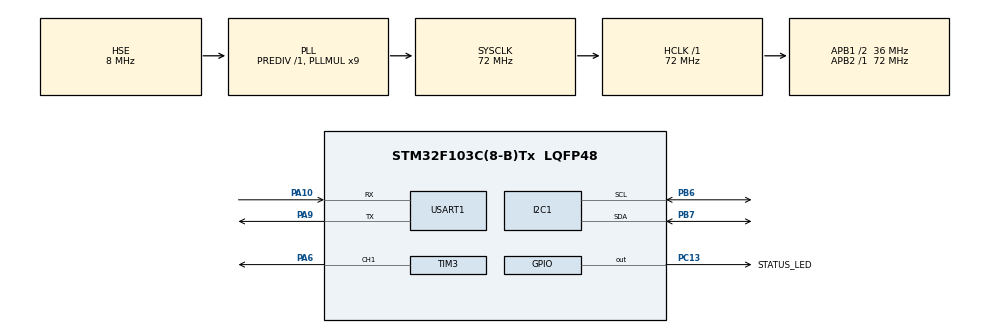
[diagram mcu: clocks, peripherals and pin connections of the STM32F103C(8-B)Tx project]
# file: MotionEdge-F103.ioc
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Dma.Request0=USART1_RX
Dma.USART1_RX.0.Direction=DMA_PERIPH_TO_MEMORY
Dma.USART1_RX.0.Instance=DMA1_Channel5
Dma.USART1_RX.0.MemDataAlignment=DMA_MDATAALIGN_BYTE
Dma.USART1_RX.0.MemInc=DMA_MINC_ENABLE
Dma.USART1_RX.0.Mode=DMA_CIRCULAR
Dma.USART1_RX.0.PeriphDataAlignment=DMA_PDATAALIGN_BYTE
Dma.USART1_RX.0.PeriphInc=DMA_PINC_DISABLE
Dma.USART1_RX.0.Priority=DMA_PRIORITY_HIGH
FREERTOS.Tasks01=defaultTask,24,128,StartDefaultTask,Default,NULL,Dynamic,NULL,NULL
FREERTOS.configCHECK_FOR_STACK_OVERFLOW=2
FREERTOS.configUSE_MALLOC_FAILED_HOOK=1
FREERTOS.configUSE_OS2_TIMER=1
Mcu.Family=STM32F1
Mcu.Name=STM32F103C(8-B)Tx
Mcu.Package=LQFP48
NVIC.DMA1_Channel5_IRQn=true\:5\:0\:false\:false\:true\:true\:false\:true\:true
NVIC.PriorityGroup=NVIC_PRIORITYGROUP_4
NVIC.TIM4_IRQn=true\:15\:0\:false\:false\:true\:false\:false\:true\:true
NVIC.TimeBase=TIM4_IRQn
NVIC.TimeBaseIP=TIM4
PA10.Mode=Asynchronous
PA10.Signal=USART1_RX
PA13.Mode=Serial_Wire
PA13.Signal=SYS_JTMS-SWDIO
PA14.Mode=Serial_Wire
PA14.Signal=SYS_JTCK-SWCLK
PA6.Signal=S_TIM3_CH1
PA9.Mode=Asynchronous
PA9.Signal=USART1_TX
PB6.Mode=I2C
PB6.Signal=I2C1_SCL
PB7.Mode=I2C
PB7.Signal=I2C1_SDA
PC13-TAMPER-RTC.GPIO_Label=STATUS_LED
PC13-TAMPER-RTC.GPIO_ModeDefaultOutputPP=GPIO_MODE_OUTPUT_PP
PC13-TAMPER-RTC.PinState=GPIO_PIN_SET
PC13-TAMPER-RTC.Signal=GPIO_Output
PD0-OSC_IN.Mode=HSE-External-Oscillator
PD0-OSC_IN.Signal=RCC_OSC_IN
PD1-OSC_OUT.Mode=HSE-External-Oscillator
PD1-OSC_OUT.Signal=RCC_OSC_OUT
ProjectManager.HeapSize=0x200
ProjectManager.StackSize=0x400
ProjectManager.TargetToolchain=CMake
RCC.AHBFreq_Value=72000000
RCC.APB1CLKDivider=RCC_HCLK_DIV2
RCC.APB1Freq_Value=36000000
RCC.APB1TimFreq_Value=72000000
RCC.APB2Freq_Value=72000000
RCC.APB2TimFreq_Value=72000000
RCC.HCLKFreq_Value=72000000
RCC.PLLMUL=RCC_PLL_MUL9
RCC.PLLSourceVirtual=RCC_PLLSOURCE_HSE
RCC.SYSCLKFreq_VALUE=72000000
RCC.SYSCLKSource=RCC_SYSCLKSOURCE_PLLCLK
RCC.USBFreq_Value=72000000
SH.S_TIM3_CH1.0=TIM3_CH1,PWM Generation1 CH1
TIM3.AutoReloadPreload=TIM_AUTORELOAD_PRELOAD_ENABLE
TIM3.Channel-PWM\ Generation1\ CH1=TIM_CHANNEL_1
TIM3.Period=19999
TIM3.Prescaler=71
TIM3.Pulse-PWM\ Generation1\ CH1=1500
USART1.VirtualMode=VM_ASYNC
VP_FREERTOS_VS_CMSIS_V2.Mode=CMSIS_V2
VP_SYS_VS_tim4.Mode=TIM4
board=custom

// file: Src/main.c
/* USER CODE BEGIN Header */
/**
  ******************************************************************************
  * @file           : main.c
  * @brief          : Main program body
  ******************************************************************************
  * @attention
  *
  * Copyright (c) 2026 STMicroelectronics.
  * All rights reserved.
  *
  * This software is licensed under terms that can be found in the LICENSE file
  * in the root directory of this software component.
  * If no LICENSE file comes with this software, it is provided AS-IS.
  *
  ******************************************************************************
  */
/* USER CODE END Header */
#include "main.h"
#include "cmsis_os.h"
#include "dma.h"
#include "i2c.h"
#include "tim.h"
#include "usart.h"
#include "gpio.h"

/* USER CODE BEGIN Includes */
#include "app_main.h"
/* USER CODE END Includes */

void SystemClock_Config(void);
void MX_FREERTOS_Init(void);

int main(void)
{

  /* MCU Configuration--------------------------------------------------------*/

  /* Reset of all peripherals, Initializes the Flash interface and the Systick. */
  HAL_Init();

  /* Configure the system clock */
  SystemClock_Config();

  /* Initialize all configured peripherals */
  MX_GPIO_Init();
  MX_DMA_Init();
  MX_I2C1_Init();
  MX_USART1_UART_Init();
  MX_TIM3_Init();
  /* USER CODE BEGIN 2 */
  if (!App_Init(HAL_GetTick()))
  {
    Error_Handler();
  }
  /* USER CODE END 2 */

  /* Init scheduler */
  osKernelInitialize();  /* Call init function for freertos objects (in cmsis_os2.c) */
  MX_FREERTOS_Init();

  /* Start scheduler */
  osKernelStart();

  /* We should never get here as control is now taken by the scheduler */

  /* Infinite loop */
  while (1)
  {

    /* USER CODE BEGIN 3 */
    /* RTOS调度器接管应用；保留循环仅作为osKernelStart异常返回保护。 */
  }
  /* USER CODE END 3 */
}

void SystemClock_Config(void)
{
  RCC_OscInitTypeDef RCC_OscInitStruct = {0};
  RCC_ClkInitTypeDef RCC_ClkInitStruct = {0};

  /** Initializes the RCC Oscillators according to the specified parameters
  * in the RCC_OscInitTypeDef structure.
  */
  RCC_OscInitStruct.OscillatorType = RCC_OSCILLATORTYPE_HSE;
  RCC_OscInitStruct.HSEState = RCC_HSE_ON;
  RCC_OscInitStruct.HSEPredivValue = RCC_HSE_PREDIV_DIV1;
  RCC_OscInitStruct.HSIState = RCC_HSI_ON;
  RCC_OscInitStruct.PLL.PLLState = RCC_PLL_ON;
  RCC_OscInitStruct.PLL.PLLSource = RCC_PLLSOURCE_HSE;
  RCC_OscInitStruct.PLL.PLLMUL = RCC_PLL_MUL9;
  if (HAL_RCC_OscConfig(&RCC_OscInitStruct) != HAL_OK)
  {
    Error_Handler();
  }

  /** Initializes the CPU, AHB and APB buses clocks
  */
  RCC_ClkInitStruct.ClockType = RCC_CLOCKTYPE_HCLK|RCC_CLOCKTYPE_SYSCLK
                              |RCC_CLOCKTYPE_PCLK1|RCC_CLOCKTYPE_PCLK2;
  RCC_ClkInitStruct.SYSCLKSource = RCC_SYSCLKSOURCE_PLLCLK;
  RCC_ClkInitStruct.AHBCLKDivider = RCC_SYSCLK_DIV1;
  RCC_ClkInitStruct.APB1CLKDivider = RCC_HCLK_DIV2;
  RCC_ClkInitStruct.APB2CLKDivider = RCC_HCLK_DIV1;

  if (HAL_RCC_ClockConfig(&RCC_ClkInitStruct, FLASH_LATENCY_2) != HAL_OK)
  {
    Error_Handler();
  }
}

void HAL_TIM_PeriodElapsedCallback(TIM_HandleTypeDef *htim)
{
  if (htim->Instance == TIM4)
  {
    HAL_IncTick();
  }
}

void Error_Handler(void)
{
  __disable_irq();
  while (1)
  {
  }
}

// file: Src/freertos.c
/* USER CODE BEGIN Header */
/**
  ******************************************************************************
  * File Name          : freertos.c
  * Description        : Code for freertos applications
  ******************************************************************************
  * @attention
  *
  * Copyright (c) 2026 STMicroelectronics.
  * All rights reserved.
  *
  * This software is licensed under terms that can be found in the LICENSE file
  * in the root directory of this software component.
  * If no LICENSE file comes with this software, it is provided AS-IS.
  *
  ******************************************************************************
  */
/* USER CODE END Header */

#include "FreeRTOS.h"
#include "task.h"
#include "main.h"
#include "cmsis_os.h"

/* USER CODE BEGIN Includes */
#include "app_rtos.h"
#include "rtos_monitor.h"

/* USER CODE END Includes */

/* Definitions for defaultTask */
osThreadId_t defaultTaskHandle;
const osThreadAttr_t defaultTask_attributes = {
  .name = "defaultTask",
  .stack_size = 128 * 4,
  .priority = (osPriority_t) osPriorityNormal,
};

void StartDefaultTask(void *argument);

void MX_FREERTOS_Init(void); /* (MISRA C 2004 rule 8.1) */

/* Hook prototypes */
void vApplicationStackOverflowHook(xTaskHandle xTask, signed char *pcTaskName);
void vApplicationMallocFailedHook(void);

/* USER CODE BEGIN 4 */
void vApplicationStackOverflowHook(xTaskHandle xTask, signed char *pcTaskName)
{
   /* Run time stack overflow checking is performed if
   configCHECK_FOR_STACK_OVERFLOW is defined to 1 or 2. This hook function is
   called if a stack overflow is detected. */
   (void)xTask;
   (void)pcTaskName;
   RtosMonitor_RecordStackOverflow();
   AppRtos_HandleFatalError();
   taskDISABLE_INTERRUPTS();
   for (;;)
   {
   }
}
/* USER CODE END 4 */

/* USER CODE BEGIN 5 */
void vApplicationMallocFailedHook(void)
{
   /* vApplicationMallocFailedHook() will only be called if
   configUSE_MALLOC_FAILED_HOOK is set to 1 in FreeRTOSConfig.h. It is a hook
   function that will get called if a call to pvPortMalloc() fails.
   pvPortMalloc() is called internally by the kernel whenever a task, queue,
   timer or semaphore is created. It is also called by various parts of the
   demo application. If heap_1.c or heap_2.c are used, then the size of the
   heap available to pvPortMalloc() is defined by configTOTAL_HEAP_SIZE in
   FreeRTOSConfig.h, and the xPortGetFreeHeapSize() API function can be used
   to query the size of free heap space that remains (although it does not
   provide information on how the remaining heap might be fragmented). */
   RtosMonitor_RecordMallocFailure();
   AppRtos_HandleFatalError();
   taskDISABLE_INTERRUPTS();
   for (;;)
   {
   }
}
/* USER CODE END 5 */

void MX_FREERTOS_Init(void) {
  /* USER CODE BEGIN Init */
  (void)AppRtos_Init();
  /* USER CODE END Init */

  /* Create the thread(s) */
  /* creation of defaultTask */
  defaultTaskHandle = osThreadNew(StartDefaultTask, NULL, &defaultTask_attributes);

  /* USER CODE BEGIN RTOS_THREADS */
  if (defaultTaskHandle == NULL)
  {
    AppRtos_HandleFatalError();
    taskDISABLE_INTERRUPTS();
    for (;;)
    {
    }
  }
  /* USER CODE END RTOS_THREADS */

}

void StartDefaultTask(void *argument)
{
  /* USER CODE BEGIN StartDefaultTask */
  (void)argument;
  /* CubeMX仍生成defaultTask；四个静态应用任务建立后立即释放其动态TCB和栈。 */
  osThreadExit();
  /* USER CODE END StartDefaultTask */
}
